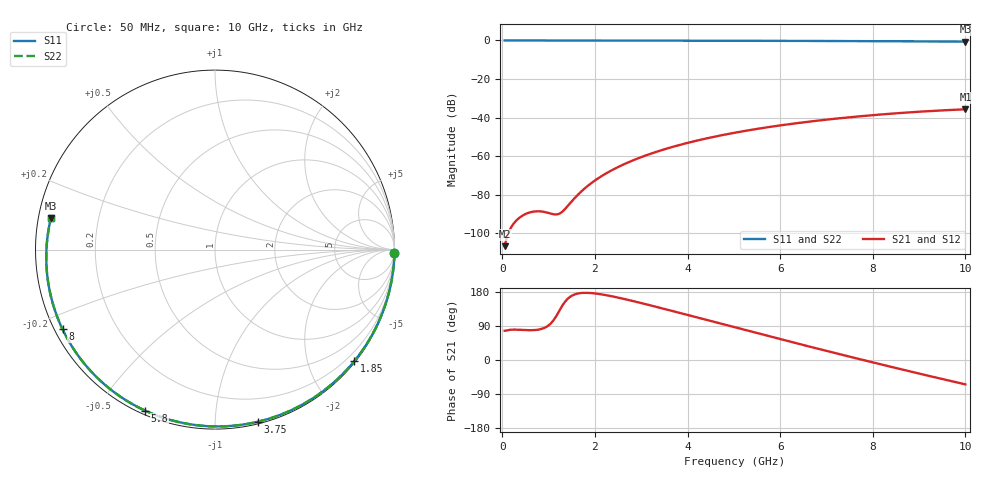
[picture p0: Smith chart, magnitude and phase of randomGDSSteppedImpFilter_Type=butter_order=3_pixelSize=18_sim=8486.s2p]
! freq	dB(S11)	phase(S11)	dB(S12)	phase(S12)
!  dB(S21)	phase(S21)	dB(S22)	phase(S22)
!S-par simulation data
#  GHz  S  DB  R 50
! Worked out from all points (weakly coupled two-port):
!   200 points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, 50 MHz to 10 GHz, reference 50 ohm
!   highest |S21| = -35.72 dB at 10 GHz (marker M1); lowest = -106.8 dB at 50 MHz (marker M2)
!   lowest |S11| = -0.6 dB at 10 GHz (marker M3), VSWR 27.92, Z = 1.81 + j4.77 ohm
!   |S11| at or under -10 dB: nowhere
!   |S22| runs from -0.6 to 0.0 dB; largest |S21 - S12| = 0
!   S11 on the Smith chart (normalised r, x): 50 MHz: open; 1.85 GHz: 0.03, -2.85; 3.75 GHz: 0.02, -1.28; 5.8 GHz: 0.02, -0.66; 8 GHz: 0.02, -0.25; 10 GHz: 0.04, +0.10
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0.05  -0.00 -1.1  -106.76 77.1  -106.76 77.1  -0.00 -1.1
0.4  -0.01 -8.5  -91.47 79.5  -91.47 79.5  -0.01 -8.5
0.8  -0.02 -17.0  -88.67 80.6  -88.67 80.6  -0.02 -17.0
1.6  -0.04 -33.6  -80.87 174.5  -80.87 174.5  -0.04 -33.6
1.65  -0.04 -34.6  -79.65 175.9  -79.65 175.9  -0.04 -34.6
1.75  -0.05 -36.6  -77.40 177.2  -77.40 177.2  -0.05 -36.6
1.85  -0.05 -38.7  -75.38 177.2  -75.38 177.2  -0.05 -38.7
2.15  -0.06 -44.8  -70.31 173.0  -70.31 173.0  -0.06 -44.8
2.5  -0.07 -51.8  -65.69 164.7  -65.69 164.7  -0.07 -51.8
2.9  -0.08 -59.7  -61.47 153.3  -61.47 153.3  -0.08 -59.7
3.4  -0.09 -69.4  -57.23 137.9  -57.23 137.9  -0.09 -69.4
3.75  -0.10 -76.1  -54.75 126.9  -54.75 126.9  -0.10 -76.1
4.4  -0.13 -88.2  -50.89 106.0  -50.89 106.0  -0.13 -88.2
5.05  -0.15 -100.0  -47.75 85.2  -47.75 85.2  -0.15 -100.0
5.8  -0.19 -113.4  -44.79 61.4  -44.79 61.4  -0.19 -113.4
6.7  -0.25 -129.3  -41.92 33.3  -41.92 33.3  -0.25 -129.3
7.35  -0.31 -140.8  -40.22 13.4  -40.22 13.4  -0.31 -140.8
8  -0.37 -152.4  -38.77 -6.3  -38.77 -6.3  -0.37 -152.4
8.35  -0.41 -158.8  -38.09 -16.7  -38.09 -16.7  -0.41 -158.8
9.2  -0.51 -174.8  -36.70 -41.6  -36.70 -41.6  -0.51 -174.8
9.6  -0.56 177.3  -36.17 -53.0  -36.17 -53.0  -0.56 177.3
10  -0.62 169.1  -35.72 -64.3  -35.72 -64.3  -0.62 169.1
